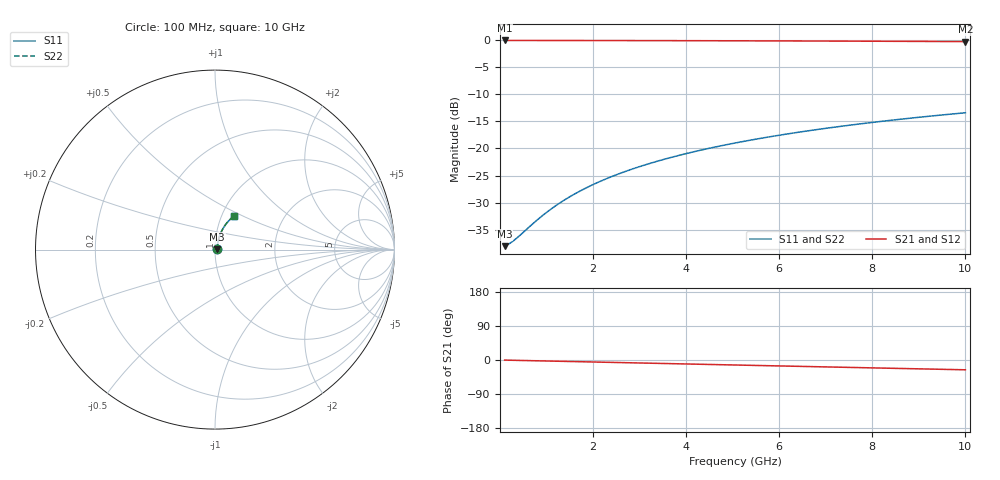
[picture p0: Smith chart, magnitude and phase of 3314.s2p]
# Hz S RI R 50.00
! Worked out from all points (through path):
!   100 points, 100 MHz to 10 GHz, reference 50 ohm
!   highest |S21| = -0.11 dB at 100 MHz (marker M1); lowest = -0.3 dB at 10 GHz (marker M2)
!   group delay of S21, straight-line fit = 7.19 ps
!   lowest |S11| = -38.0 dB at 100 MHz (marker M3), VSWR 1.03, Z = 51.3 + j0.223 ohm
!   |S11| at or under -10 dB: start of sweep to end of sweep
!   |S22| runs from -38.0 to -13.4 dB; largest |S21 - S12| = 0
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1e8  0.0124 0.00218  0.9876 -0.00452  0.9876 -0.00452  0.0124 0.00218
2e8  0.0125 0.00436  0.9875 -0.00904  0.9875 -0.00904  0.0125 0.00436
3e8  0.0126 0.00653  0.9874 -0.0136  0.9874 -0.0136  0.0126 0.00653
4e8  0.0127 0.00871  0.9872 -0.0181  0.9872 -0.0181  0.0127 0.00871
8e8  0.0133 0.0174  0.9865 -0.0361  0.9865 -0.0361  0.0133 0.0174
1.1e9  0.014 0.0239  0.9857 -0.0497  0.9857 -0.0497  0.014 0.0239
1.4e9  0.0148 0.0304  0.9846 -0.0632  0.9846 -0.0632  0.0148 0.0304
1.6e9  0.0154 0.0347  0.9838 -0.0721  0.9838 -0.0721  0.0154 0.0347
1.8e9  0.0161 0.0389  0.9829 -0.0811  0.9829 -0.0811  0.0161 0.0389
2.1e9  0.0173 0.0453  0.9814 -0.0946  0.9814 -0.0946  0.0173 0.0453
2.5e9  0.0192 0.0538  0.979 -0.1124  0.979 -0.1124  0.0192 0.0538
2.9e9  0.0214 0.0622  0.9762 -0.1302  0.9762 -0.1302  0.0214 0.0622
3.4e9  0.0245 0.0726  0.9722 -0.1522  0.9722 -0.1522  0.0245 0.0726
3.8e9  0.0274 0.0807  0.9685 -0.1698  0.9685 -0.1698  0.0274 0.0807
4.2e9  0.0305 0.0888  0.9645 -0.1872  0.9645 -0.1872  0.0305 0.0888
4.6e9  0.0339 0.0967  0.9601 -0.2045  0.9601 -0.2045  0.0339 0.0967
5.1e9  0.0386 0.1064  0.9541 -0.2259  0.9541 -0.2259  0.0386 0.1064
5.9e9  0.0469 0.1213  0.9433 -0.2597  0.9433 -0.2597  0.0469 0.1213
6.7e9  0.0563 0.1356  0.9311 -0.2928  0.9311 -0.2928  0.0563 0.1356
7.5e9  0.0666 0.1491  0.9175 -0.3251  0.9175 -0.3251  0.0666 0.1491
8.4e9  0.0793 0.1633  0.9008 -0.3604  0.9008 -0.3604  0.0793 0.1633
1e10  0.1043 0.1857  0.8675 -0.4203  0.8675 -0.4203  0.1043 0.1857
